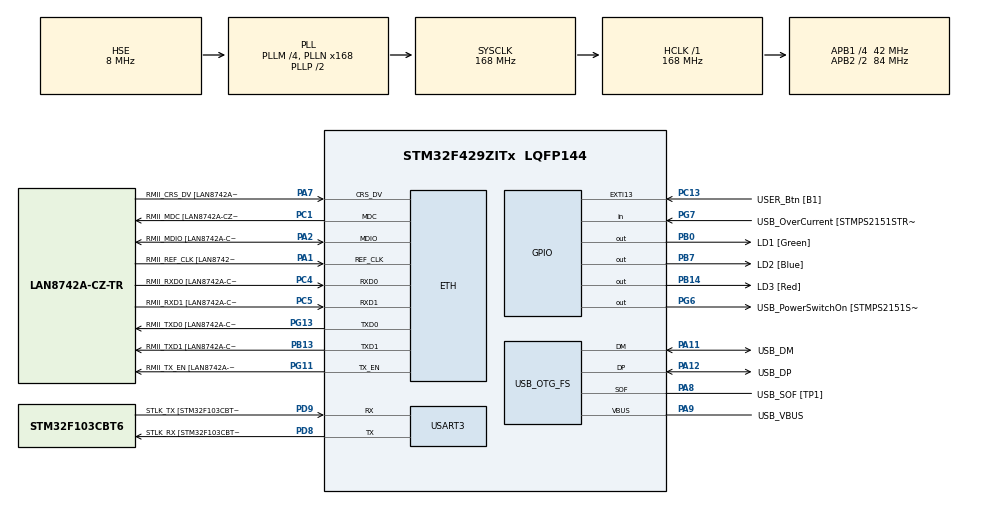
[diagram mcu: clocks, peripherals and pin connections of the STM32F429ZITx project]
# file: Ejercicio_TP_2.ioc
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ETH.MediaInterface=HAL_ETH_RMII_MODE
ETH.PHY_Name=LAN8742A_PHY_ADDRESS
ETH.PHY_Value=0
ETH.PhyAddress=0
Mcu.Family=STM32F4
Mcu.Name=STM32F429ZITx
Mcu.Package=LQFP144
NVIC.PriorityGroup=NVIC_PRIORITYGROUP_4
PA1.GPIO_Label=RMII_REF_CLK [LAN8742A-CZ-TR_REFCLK0]
PA1.Mode=RMII
PA1.Signal=ETH_REF_CLK
PA10.GPIO_Label=USB_ID
PA10.Signal=USB_OTG_FS_ID
PA11.GPIO_Label=USB_DM
PA11.Mode=Device_Only
PA11.Signal=USB_OTG_FS_DM
PA12.GPIO_Label=USB_DP
PA12.Mode=Device_Only
PA12.Signal=USB_OTG_FS_DP
PA13.GPIO_Label=TMS
PA13.Mode=Serial_Wire
PA13.Signal=SYS_JTMS-SWDIO
PA14.GPIO_Label=TCK
PA14.Mode=Serial_Wire
PA14.Signal=SYS_JTCK-SWCLK
PA2.GPIO_Label=RMII_MDIO [LAN8742A-CZ-TR_MDIO]
PA2.Mode=RMII
PA2.Signal=ETH_MDIO
PA7.GPIO_Label=RMII_CRS_DV [LAN8742A-CZ-TR_CRS_DV]
PA7.Mode=RMII
PA7.Signal=ETH_CRS_DV
PA8.GPIO_Label=USB_SOF [TP1]
PA8.Mode=Activate_SOF_FS
PA8.Signal=USB_OTG_FS_SOF
PA9.GPIO_Label=USB_VBUS
PA9.Mode=Activate_VBUS
PA9.Signal=USB_OTG_FS_VBUS
PB0.GPIO_Label=LD1 [Green]
PB0.Signal=GPIO_Output
PB13.GPIO_Label=RMII_TXD1 [LAN8742A-CZ-TR_TXD1]
PB13.Mode=RMII
PB13.Signal=ETH_TXD1
PB14.GPIO_Label=LD3 [Red]
PB14.Signal=GPIO_Output
PB7.GPIO_Label=LD2 [Blue]
PB7.Signal=GPIO_Output
PC1.GPIO_Label=RMII_MDC [LAN8742A-CZ-TR_MDC]
PC1.Mode=RMII
PC1.Signal=ETH_MDC
PC13.GPIO_Label=USER_Btn [B1]
PC13.Signal=GPXTI13
PC14/OSC32_IN.Mode=LSE-External-Oscillator
PC14/OSC32_IN.Signal=RCC_OSC32_IN
PC15/OSC32_OUT.Mode=LSE-External-Oscillator
PC15/OSC32_OUT.Signal=RCC_OSC32_OUT
PC4.GPIO_Label=RMII_RXD0 [LAN8742A-CZ-TR_RXD0]
PC4.Mode=RMII
PC4.Signal=ETH_RXD0
PC5.GPIO_Label=RMII_RXD1 [LAN8742A-CZ-TR_RXD1]
PC5.Mode=RMII
PC5.Signal=ETH_RXD1
PD8.GPIO_Label=STLK_RX [STM32F103CBT6_PA3]
PD8.Mode=Asynchronous
PD8.Signal=USART3_TX
PD9.GPIO_Label=STLK_TX [STM32F103CBT6_PA2]
PD9.Mode=Asynchronous
PD9.Signal=USART3_RX
PG11.GPIO_Label=RMII_TX_EN [LAN8742A-CZ-TR_TXEN]
PG11.Mode=RMII
PG11.Signal=ETH_TX_EN
PG13.GPIO_Label=RMII_TXD0 [LAN8742A-CZ-TR_TXD0]
PG13.Mode=RMII
PG13.Signal=ETH_TXD0
PG6.GPIO_Label=USB_PowerSwitchOn [STMPS2151STR_EN]
PG6.Signal=GPIO_Output
PG7.GPIO_Label=USB_OverCurrent [STMPS2151STR_FAULT]
PG7.Signal=GPIO_Input
PH0/OSC_IN.GPIO_Label=MCO [STM32F103CBT6_PA8]
PH0/OSC_IN.Mode=HSE-External-Clock-Source
PH0/OSC_IN.Signal=RCC_OSC_IN
PH1/OSC_OUT.Mode=HSE-External-Clock-Source
PH1/OSC_OUT.Signal=RCC_OSC_OUT
ProjectManager.HeapSize=0x200
ProjectManager.StackSize=0x400
ProjectManager.TargetToolchain=STM32CubeIDE
RCC.48MHZClocksFreq_Value=48000000
RCC.AHBFreq_Value=168000000
RCC.APB1CLKDivider=RCC_HCLK_DIV4
RCC.APB1Freq_Value=42000000
RCC.APB1TimFreq_Value=84000000
RCC.APB2CLKDivider=RCC_HCLK_DIV2
RCC.APB2Freq_Value=84000000
RCC.APB2TimCLKDivider=2
RCC.APB2TimFreq_Value=168000000
RCC.CortexFreq_Value=168000000
RCC.HCLKFreq_Value=168000000
RCC.HSE_VALUE=8000000
RCC.HSI_VALUE=16000000
RCC.PLLM=4
RCC.PLLMUL=RCC_PLL_MUL9
RCC.PLLN=168
RCC.PLLQ=7
RCC.PRESCALERUSB=RCC_USBCLKSOURCE_PLL_DIV1_5
RCC.SYSCLKFreq_VALUE=168000000
RCC.SYSCLKSource=RCC_SYSCLKSOURCE_PLLCLK
RCC.SYSCLKSourceVirtual=RCC_SYSCLKSOURCE_PLLCLK
RCC.USBFreq_Value=48000000
RCC.VCOOutputFreq_Value=336000000
USART3.VirtualMode=VM_ASYNC
USB_OTG_FS.VirtualMode=Device_Only
board=NUCLEO-F429ZI

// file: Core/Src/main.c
/* USER CODE BEGIN Header */
/**
  ******************************************************************************
  * @file           : main.c
  * @brief          : Main program body
  ******************************************************************************
  * @attention
  *
  * Copyright (c) 2024 STMicroelectronics.
  * All rights reserved.
  *
  * This software is licensed under terms that can be found in the LICENSE file
  * in the root directory of this software component.
  * If no LICENSE file comes with this software, it is provided AS-IS.
  *
  ******************************************************************************
  */
/* USER CODE END Header */
#include "main.h"
#include "string.h"
#include "asm_func.h"

ETH_TxPacketConfig TxConfig;
ETH_DMADescTypeDef  DMARxDscrTab[ETH_RX_DESC_CNT]; /* Ethernet Rx DMA Descriptors */
ETH_DMADescTypeDef  DMATxDscrTab[ETH_TX_DESC_CNT]; /* Ethernet Tx DMA Descriptors */

ETH_HandleTypeDef heth;

UART_HandleTypeDef huart3;

PCD_HandleTypeDef hpcd_USB_OTG_FS;

void SystemClock_Config(void);
static void MX_GPIO_Init(void);
static void MX_ETH_Init(void);
static void MX_USART3_UART_Init(void);
static void MX_USB_OTG_FS_PCD_Init(void);
/* USER CODE BEGIN PFP */
void pack32to16 (int32_t * vectorIn, int16_t *vectorOut, uint32_t longitud);
uint32_t max (int32_t * vectorIn, uint32_t longitud);
void downSample (int32_t * vectorIn, int32_t * vectorOut, uint32_t longitud, uint32_t N);
void invertir (uint16_t * vector, uint32_t longitud);
/* USER CODE END PFP */

int main(void)
{
  /* USER CODE BEGIN 1 */

		/* ----------- Función Ejercicio 1 ----------- */

    uint32_t longitud = 3;
    int32_t vectorIn [] = {0b10101010101010101111111111111111, 0b01111111111010111001011010011101, 0b10101001100000011011011110111111};
    int16_t vectorOut [] = {0,0,0};

    pack32to16(vectorIn, vectorOut, longitud);

    for(uint8_t index = 0; index < longitud; index++)
      vectorOut[index] = 0;

    asm_pack32to16(vectorIn, vectorOut, longitud);

		/* ----------- Función Ejercicio 1 ----------- */

		/* ----------- Función Ejercicio 2 ----------- */

    uint32_t longitud_max = 6;
    int32_t vectorIn_max [] = {6,3,7,8,1,3};
    int32_t out_max;

    out_max= max(vectorIn_max, longitud_max);

    out_max=0;

    out_max= asm_max(vectorIn_max, longitud_max);

		/* ----------- Función Ejercicio 2 ----------- */

		/* ----------- Función Ejercicio 3 ----------- */

    int32_t vectorIn_dS [] = {1,2,3,4,5,6,7,8,9,10,11,12};
    int32_t vectorOut_dS [] = {0,0,0,0,0,0,0,0};
    uint32_t longitud_dS = 12;
    uint32_t N = 3;

    downSample(vectorIn_dS,vectorOut_dS,longitud_dS,N);

    memset(vectorOut_dS,0,sizeof(vectorOut_dS));

    asm_downSample(vectorIn_dS, vectorOut_dS, longitud_dS, N);

		/* ----------- Función Ejercicio 3 ----------- */

		/* ----------- Función Ejercicio 4 ----------- */

    uint32_t longitud4 = 5;
    uint16_t vector[] = {10,11,12,13,14};
    uint16_t vector_asm [] = {10,11,12,13,14};

    invertir(vector, longitud4);

    asm_invertir(vector_asm, longitud4);

		/* ----------- Función Ejercicio 4 ----------- */

  /* USER CODE END 1 */

  /* MCU Configuration--------------------------------------------------------*/

  /* Reset of all peripherals, Initializes the Flash interface and the Systick. */
  HAL_Init();

  /* Configure the system clock */
  SystemClock_Config();

  /* Initialize all configured peripherals */
  MX_GPIO_Init();
  MX_ETH_Init();
  MX_USART3_UART_Init();
  MX_USB_OTG_FS_PCD_Init();

  /* Infinite loop */
  while (1)
  {

  }
}

void SystemClock_Config(void)
{
  RCC_OscInitTypeDef RCC_OscInitStruct = {0};
  RCC_ClkInitTypeDef RCC_ClkInitStruct = {0};

  /** Configure the main internal regulator output voltage
  */
  __HAL_RCC_PWR_CLK_ENABLE();
  __HAL_PWR_VOLTAGESCALING_CONFIG(PWR_REGULATOR_VOLTAGE_SCALE1);

  /** Initializes the RCC Oscillators according to the specified parameters
  * in the RCC_OscInitTypeDef structure.
  */
  RCC_OscInitStruct.OscillatorType = RCC_OSCILLATORTYPE_HSE;
  RCC_OscInitStruct.HSEState = RCC_HSE_BYPASS;
  RCC_OscInitStruct.PLL.PLLState = RCC_PLL_ON;
  RCC_OscInitStruct.PLL.PLLSource = RCC_PLLSOURCE_HSE;
  RCC_OscInitStruct.PLL.PLLM = 4;
  RCC_OscInitStruct.PLL.PLLN = 168;
  RCC_OscInitStruct.PLL.PLLP = RCC_PLLP_DIV2;
  RCC_OscInitStruct.PLL.PLLQ = 7;
  if (HAL_RCC_OscConfig(&RCC_OscInitStruct) != HAL_OK)
  {
    Error_Handler();
  }

  /** Initializes the CPU, AHB and APB buses clocks
  */
  RCC_ClkInitStruct.ClockType = RCC_CLOCKTYPE_HCLK|RCC_CLOCKTYPE_SYSCLK
                              |RCC_CLOCKTYPE_PCLK1|RCC_CLOCKTYPE_PCLK2;
  RCC_ClkInitStruct.SYSCLKSource = RCC_SYSCLKSOURCE_PLLCLK;
  RCC_ClkInitStruct.AHBCLKDivider = RCC_SYSCLK_DIV1;
  RCC_ClkInitStruct.APB1CLKDivider = RCC_HCLK_DIV4;
  RCC_ClkInitStruct.APB2CLKDivider = RCC_HCLK_DIV2;

  if (HAL_RCC_ClockConfig(&RCC_ClkInitStruct, FLASH_LATENCY_5) != HAL_OK)
  {
    Error_Handler();
  }
}

static void MX_ETH_Init(void)
{

   static uint8_t MACAddr[6];

  heth.Instance = ETH;
  MACAddr[0] = 0x00;
  MACAddr[1] = 0x80;
  MACAddr[2] = 0xE1;
  MACAddr[3] = 0x00;
  MACAddr[4] = 0x00;
  MACAddr[5] = 0x00;
  heth.Init.MACAddr = &MACAddr[0];
  heth.Init.MediaInterface = HAL_ETH_RMII_MODE;
  heth.Init.TxDesc = DMATxDscrTab;
  heth.Init.RxDesc = DMARxDscrTab;
  heth.Init.RxBuffLen = 1524;

  if (HAL_ETH_Init(&heth) != HAL_OK)
  {
    Error_Handler();
  }

  memset(&TxConfig, 0 , sizeof(ETH_TxPacketConfig));
  TxConfig.Attributes = ETH_TX_PACKETS_FEATURES_CSUM | ETH_TX_PACKETS_FEATURES_CRCPAD;
  TxConfig.ChecksumCtrl = ETH_CHECKSUM_IPHDR_PAYLOAD_INSERT_PHDR_CALC;
  TxConfig.CRCPadCtrl = ETH_CRC_PAD_INSERT;

}

static void MX_USART3_UART_Init(void)
{

  huart3.Instance = USART3;
  huart3.Init.BaudRate = 115200;
  huart3.Init.WordLength = UART_WORDLENGTH_8B;
  huart3.Init.StopBits = UART_STOPBITS_1;
  huart3.Init.Parity = UART_PARITY_NONE;
  huart3.Init.Mode = UART_MODE_TX_RX;
  huart3.Init.HwFlowCtl = UART_HWCONTROL_NONE;
  huart3.Init.OverSampling = UART_OVERSAMPLING_16;
  if (HAL_UART_Init(&huart3) != HAL_OK)
  {
    Error_Handler();
  }

}

static void MX_USB_OTG_FS_PCD_Init(void)
{

  hpcd_USB_OTG_FS.Instance = USB_OTG_FS;
  hpcd_USB_OTG_FS.Init.dev_endpoints = 4;
  hpcd_USB_OTG_FS.Init.speed = PCD_SPEED_FULL;
  hpcd_USB_OTG_FS.Init.dma_enable = DISABLE;
  hpcd_USB_OTG_FS.Init.phy_itface = PCD_PHY_EMBEDDED;
  hpcd_USB_OTG_FS.Init.Sof_enable = ENABLE;
  hpcd_USB_OTG_FS.Init.low_power_enable = DISABLE;
  hpcd_USB_OTG_FS.Init.lpm_enable = DISABLE;
  hpcd_USB_OTG_FS.Init.vbus_sensing_enable = ENABLE;
  hpcd_USB_OTG_FS.Init.use_dedicated_ep1 = DISABLE;
  if (HAL_PCD_Init(&hpcd_USB_OTG_FS) != HAL_OK)
  {
    Error_Handler();
  }

}

static void MX_GPIO_Init(void)
{
  GPIO_InitTypeDef GPIO_InitStruct = {0};

  /* GPIO Ports Clock Enable */
  __HAL_RCC_GPIOC_CLK_ENABLE();
  __HAL_RCC_GPIOH_CLK_ENABLE();
  __HAL_RCC_GPIOA_CLK_ENABLE();
  __HAL_RCC_GPIOB_CLK_ENABLE();
  __HAL_RCC_GPIOD_CLK_ENABLE();
  __HAL_RCC_GPIOG_CLK_ENABLE();

  /*Configure GPIO pin Output Level */
  HAL_GPIO_WritePin(GPIOB, LD1_Pin|LD3_Pin|LD2_Pin, GPIO_PIN_RESET);

  /*Configure GPIO pin Output Level */
  HAL_GPIO_WritePin(USB_PowerSwitchOn_GPIO_Port, USB_PowerSwitchOn_Pin, GPIO_PIN_RESET);

  /*Configure GPIO pin : USER_Btn_Pin */
  GPIO_InitStruct.Pin = USER_Btn_Pin;
  GPIO_InitStruct.Mode = GPIO_MODE_IT_RISING;
  GPIO_InitStruct.Pull = GPIO_NOPULL;
  HAL_GPIO_Init(USER_Btn_GPIO_Port, &GPIO_InitStruct);

  /*Configure GPIO pins : LD1_Pin LD3_Pin LD2_Pin */
  GPIO_InitStruct.Pin = LD1_Pin|LD3_Pin|LD2_Pin;
  GPIO_InitStruct.Mode = GPIO_MODE_OUTPUT_PP;
  GPIO_InitStruct.Pull = GPIO_NOPULL;
  GPIO_InitStruct.Speed = GPIO_SPEED_FREQ_LOW;
  HAL_GPIO_Init(GPIOB, &GPIO_InitStruct);

  /*Configure GPIO pin : USB_PowerSwitchOn_Pin */
  GPIO_InitStruct.Pin = USB_PowerSwitchOn_Pin;
  GPIO_InitStruct.Mode = GPIO_MODE_OUTPUT_PP;
  GPIO_InitStruct.Pull = GPIO_NOPULL;
  GPIO_InitStruct.Speed = GPIO_SPEED_FREQ_LOW;
  HAL_GPIO_Init(USB_PowerSwitchOn_GPIO_Port, &GPIO_InitStruct);

  /*Configure GPIO pin : USB_OverCurrent_Pin */
  GPIO_InitStruct.Pin = USB_OverCurrent_Pin;
  GPIO_InitStruct.Mode = GPIO_MODE_INPUT;
  GPIO_InitStruct.Pull = GPIO_NOPULL;
  HAL_GPIO_Init(USB_OverCurrent_GPIO_Port, &GPIO_InitStruct);

}

/* USER CODE BEGIN 4 */

/**
 * @brief Reciba un vector de números signados de 32 bits y los
 * “empaqueta” en otro vector de 16 bits, guardando la parte alta (MSB).
 *
 * @param vectorIn: vector de 32 bits
 * @param vectorOut: vector de 16 bits
 * @param longitud: longitud del vector
*/
void pack32to16 (int32_t * vectorIn, int16_t *vectorOut, uint32_t longitud) {
	for(uint8_t i = longitud; i > 0; i--) {
		vectorOut[i-1] = vectorIn[i-1] >> 16;
	}
}

/**
 * @brief Recibe un vector de números signados de 32 bits y devuelve la
 * posición del máximo del vector.
 *
 * @param vectorIn: vector de 32 bits
 * @param longitud: longitud del vector
 * @return la posición del máximo del verctor
*/
uint32_t max (int32_t * vectorIn, uint32_t longitud) {
	int32_t aux = vectorIn[0];

	for (uint32_t i = longitud; i > 0; i--) {
		if (vectorIn[i-1] > aux)
			aux = vectorIn[i-1];
	}
	return aux;
}

/**
 * @brief Recibe un vector de muestras signadas de 32 bits y descarta una
 * de cada N muestras. Si se impone en la aplicación que N siempre es múltiplo de longitud.
 *
 * @param vectorIn: vector de 32 bits
 * @param vectorOut: vector de 32 bits
 * @param longitud: longitud del vector
 * @param N: cantidad de muestras
*/
void downSample (int32_t * vectorIn, int32_t * vectorOut, uint32_t longitud, uint32_t N) {
	uint32_t j = longitud - longitud/N;

	for(uint32_t i = longitud; i > 0; i--, j--){
		if((i%N) == 0)
		  i--;
		vectorOut[j - 1] = vectorIn[i - 1];
	}
}

/**
 * @brief Recibe un vector de muestras signadas de 16 bits y lo invierte.
 *
 * @param vector: vector de 16 bits
 * @param longitud: longitud del vector
*/
void invertir (uint16_t * vector, uint32_t longitud) {
	uint16_t swap_a, swap_b;

	for (uint32_t i = longitud, j = 0; j < i; i--, j++) {
		swap_a = vector[i-1];
		swap_b = vector[j];
		vector[j] = swap_a;
		vector[i-1] = swap_b;
	}
}

/* USER CODE END 4 */

void Error_Handler(void)
{
  __disable_irq();
  while (1)
  {
  }
}
